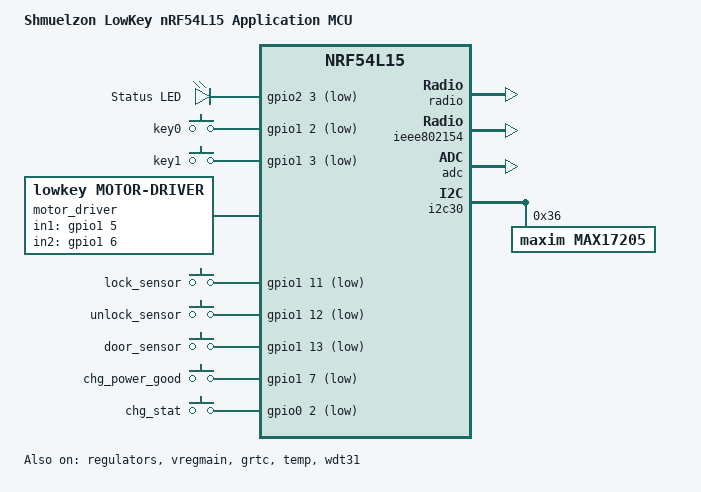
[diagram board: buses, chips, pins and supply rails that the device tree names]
/*
 * Copyright (c) 2024 Nordic Semiconductor ASA
 *
 * SPDX-License-Identifier: Apache-2.0
 */

/dts-v1/;

#include <nordic/nrf54l15_cpuapp.dtsi>
#include <zephyr/dt-bindings/gpio/nordic-nrf-gpio.h>
#include "lowkey-pinctrl.dtsi"

/*
 * LowKey board — Ezurio BL54L15 module (P/N 453-00044) carrying the
 * nRF54L15 SoC. Same silicon and module as the BL54L15 DVK, so the SoC-level
 * configuration (clocks, RRAM, GRTC, radio) mirrors that board; the rest of
 * this file describes the product's own wiring. The module has a single fixed
 * antenna (MHF4), so there is no RF switch to manage. There is no wired debug
 * UART — debugging is over the SWD back-channel (RTT).
 */

/ {
	compatible = "shmuelzon,lowkey_nrf54l15-cpuapp";
	model = "Shmuelzon LowKey nRF54L15 Application MCU";

	/*
	 * No zephyr,console or zephyr,*-uart: this board has no wired debug
	 * UART and enables no UARTE, so pointing them at a disabled node would
	 * only mislead. Debug output goes over RTT (see overlay-debug.conf).
	 */
	chosen {
		zephyr,code-partition = &slot0_partition;
		zephyr,sram = &cpuapp_sram;
		zephyr,flash-controller = &rram_controller;
		zephyr,flash = &cpuapp_rram;
		zephyr,ieee802154 = &ieee802154;
	};

	aliases {
		led0 = &status_led;
		key0 = &key0;
		key1 = &key1;
		watchdog0 = &wdt31;

		/* Position sensors */
		lock-sensor   = &lock_sensor;
		unlock-sensor = &unlock_sensor;
		door-sensor   = &door_sensor;

		/* Charger status */
		chg-power-good = &chg_power_good;
		chg-stat       = &chg_stat;
	};

	/* Status LED — P2.03, active-low (MCU sinks current). */
	leds {
		compatible = "gpio-leds";

		status_led: status-led {
			gpios = <&gpio2 3 GPIO_ACTIVE_LOW>;
			label = "Status LED";
		};
	};

	/*
	 * User keys — active-low with internal pull-up. The firmware reaches
	 * these through the key0/key1 aliases and debounces them itself
	 * (src/gpio_input.c); CONFIG_INPUT is off, so the gpio-keys compatible
	 * and zephyr,code below are conventional rather than consumed.
	 */
	buttons {
		compatible = "gpio-keys";

		key0: key-0 {
			/* P1.02 — button 0 (discovery / factory reset) */
			gpios = <&gpio1 2 (GPIO_PULL_UP | GPIO_ACTIVE_LOW)>;
			zephyr,code = <0>;
		};
		key1: key-1 {
			/* P1.03 — button 1 */
			gpios = <&gpio1 3 (GPIO_PULL_UP | GPIO_ACTIVE_LOW)>;
			zephyr,code = <1>;
		};
	};

	/*
	 * Motor driver (H-bridge). IN1/IN2 are common to every PCB revision;
	 * the revision overlay adds any revision-specific pins:
	 *   rev A (DRV8837): adds nsleep-gpios (P1.04) — see ..._A.overlay
	 *   rev B (DRV8871): auto-sleep, no nSLEEP  — see ..._B.overlay
	 */
	motor_driver: motor-driver {
		compatible = "lowkey,motor-driver";
		in1-gpios = <&gpio1 5 GPIO_ACTIVE_HIGH>;  /* P1.05 */
		in2-gpios = <&gpio1 6 GPIO_ACTIVE_HIGH>;  /* P1.06 */
	};

	/*
	 * Hall-effect sensors (push-pull output, active-low). On P1 for
	 * GPIOTE20 interrupt-driven wake-from-sleep. No pull-up: the push-pull
	 * stage would waste current fighting it.
	 */
	lock_sensors {
		compatible = "gpio-keys";

		lock_sensor: lock-sensor {
			/* P1.11 — bolt fully extended (locked) */
			gpios = <&gpio1 11 GPIO_ACTIVE_LOW>;
			zephyr,code = <2>;
		};
		unlock_sensor: unlock-sensor {
			/* P1.12 — bolt fully retracted (unlocked) */
			gpios = <&gpio1 12 GPIO_ACTIVE_LOW>;
			zephyr,code = <3>;
		};
		door_sensor: door-sensor {
			/* P1.13 — door closed */
			gpios = <&gpio1 13 GPIO_ACTIVE_LOW>;
			zephyr,code = <4>;
		};
	};

	/*
	 * Charger status inputs. Both are open-drain active-low; internal
	 * pull-ups are enabled on the nRF54L15 side.
	 *
	 * PG (power-good): LOW = input power connected.
	 * STAT: LOW = charge in progress, HIGH = charge complete.
	 */
	charger_status {
		compatible = "gpio-keys";

		chg_power_good: chg-power-good {
			/* P1.07 — GPIOTE20 wake-capable */
			gpios = <&gpio1 7 (GPIO_ACTIVE_LOW | GPIO_PULL_UP)>;
			zephyr,code = <5>;
		};
		chg_stat: chg-stat {
			/* P0.02 — GPIOTE30 wake-capable */
			gpios = <&gpio0 2 (GPIO_ACTIVE_LOW | GPIO_PULL_UP)>;
			zephyr,code = <6>;
		};
	};
};

/*
 * nrf54l15.dtsi gives cpuapp 188 KiB of the SoC's 256 KiB SRAM and reserves the
 * top 68 KiB as cpuflpr_sram. This product never starts the FLPR core, so take
 * it back — the same override Nordic ships for the parts where FLPR is
 * unsupported. cpuflpr_sram is left in place and now overlaps this region;
 * anything that wants the FLPR back must shrink this reg first.
 *
 * Not only headroom: CONFIG_RAM_POWER_DOWN_LIBRARY powers down whole 32 KiB
 * sections above _image_ram_end, and at 188 KiB there was never a complete
 * section free, so the option did nothing at all. Each 32 KiB of RAM the image
 * gives back is one more section powered down, so the practical budget is well
 * under 256 KiB — a combined Matter + BLE build currently sits at ~199 KiB and
 * frees exactly one section.
 */
&cpuapp_sram {
	reg = <0x20000000 DT_SIZE_K(256)>;
	ranges = <0x0 0x20000000 DT_SIZE_K(256)>;
};

/*
 * The RRAM half of the same trade: cpuapp gets the low 1428 KiB of 1524 KiB,
 * with the top 96 KiB reserved as cpuflpr_rram.
 *
 * Unlike the SRAM reclaim this is load-bearing rather than headroom.
 * pm_static.yml spans the full 1524 KiB, so every image Partition Manager lays
 * out needs this same override or the layout overflows flash_primary and the
 * build fails — which is why it is repeated verbatim in
 * sysbuild/mcuboot/app.overlay, whose devicetree never sees this file.
 */
&cpuapp_rram {
	reg = <0x0 DT_SIZE_K(1524)>;
};

&lfxo {
	load-capacitors = "internal";
	load-capacitance-femtofarad = <15500>;
};

&hfxo {
	load-capacitors = "internal";
	load-capacitance-femtofarad = <15000>;
};

&regulators {
	status = "okay";
};

&vregmain {
	status = "okay";
	regulator-initial-mode = <NRF5X_REG_MODE_DCDC>;
};

&grtc {
	owned-channels = <0 1 2 3 4 5 6 7 8 9 10 11>;
	/*
	 * Channels 7-11 reserved for Zero Latency IRQs. Channels 3-4 are the
	 * SoC's FLPR reservation; the FLPR core is unused here (see the
	 * cpuapp_sram override above) but the channels are left ceded because
	 * nothing needs them and the SDK default expects them free.
	 */
	child-owned-channels = <3 4 7 8 9 10 11>;
	status = "okay";
};

&gpio0 {
	status = "okay";
};

&gpio1 {
	status = "okay";
};

&gpio2 {
	status = "okay";
};

&gpiote20 {
	status = "okay";
};

&gpiote30 {
	status = "okay";
};

&radio {
	status = "okay";
};

&ieee802154 {
	status = "okay";
};

&temp {
	status = "okay";
};

&clock {
	status = "okay";
};

&adc {
	status = "okay";
};

/*
 * MAX17205 fuel gauge on I2C30. uart30 shares the SERIAL30 peripheral and is
 * left disabled so this bus can own P0.00/P0.01.
 */
&i2c30 {
	status = "okay";
	pinctrl-0 = <&i2c30_default>;
	pinctrl-1 = <&i2c30_sleep>;
	pinctrl-names = "default", "sleep";

	max17205: max17205@36 {
		compatible = "maxim,max17205";
		reg = <0x36>;
		sense-resistor-micro-ohms = <10000>;          /* 10 mOhm */
		charge-term-current-microamp = <103000>;      /* BQ25886 ITERM = 103 mA */
		status = "okay";
	};
};

/* Hardware watchdog for production reliability. */
&wdt31 {
	status = "okay";
};

/*
 * Reclaim the NFC antenna pins (P1.02 / P1.03) as ordinary GPIOs for the two
 * user keys (key0/key1). On the nRF54L15 these pins power up in NFC mode: the
 * NFCT pad network is connected and holds them low, overriding the GPIO
 * pull-ups, so the keys read stuck-low even though PIN_CNF is correct.
 * Disabling the nfct node is not enough — the pads must be taken off NFCT.
 * This property makes SoC startup (system_nrf54l.c) program
 * NRF_NFCT->PADCONFIG = Disabled on every boot, freeing the pins as GPIO.
 */
&uicr {
	nfct-pins-as-gpios;
};

/* Include default memory partition configuration file */
#include <nordic/nrf54l15_partition.dtsi>
